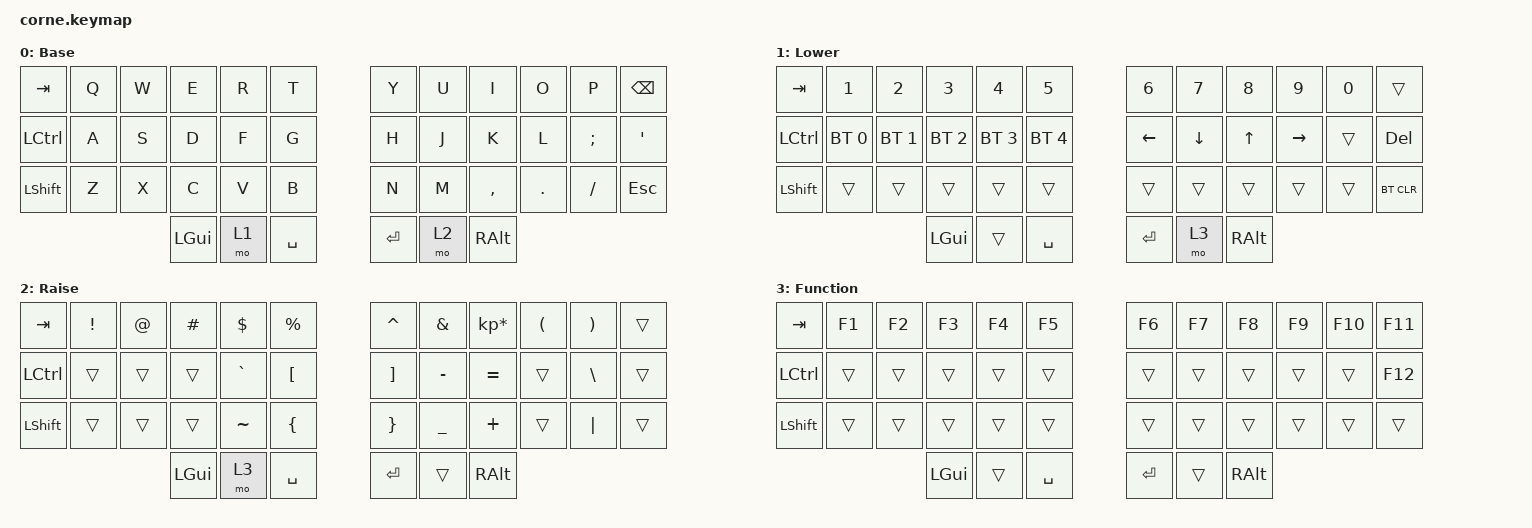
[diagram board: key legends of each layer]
/*
 * Copyright (c) 2020 The ZMK Contributors
 *
 * SPDX-License-Identifier: MIT
 */

#include <behaviors.dtsi>
#include <dt-bindings/zmk/bt.h>
#include <dt-bindings/zmk/keys.h>

/ {
    keymap {
        compatible = "zmk,keymap";

        default_layer {
            // -----------------------------------------------------------------------------------------
            // |  TAB |  Q  |  W  |  E  |  R  |  T  |   |  Y  |  U   |  I  |  O  |  P  | BKSP |
            // | CTRL |  A  |  S  |  D  |  F  |  G  |   |  H  |  J   |  K  |  L  |  ;  |  '   |
            // | SHFT |  Z  |  X  |  C  |  V  |  B  |   |  N  |  M   |  ,  |  .  |  /  | ESC  |
            //                    | GUI | LWR | SPC |   | ENT | RSE  | ALT |

            display-name = "Base";
            bindings = <
&kp TAB    &kp Q  &kp W  &kp E     &kp R  &kp T        &kp Y    &kp U  &kp I      &kp O    &kp P     &kp BACKSPACE
&kp LCTRL  &kp A  &kp S  &kp D     &kp F  &kp G        &kp H    &kp J  &kp K      &kp L    &kp SEMI  &kp SQT
&kp LSHFT  &kp Z  &kp X  &kp C     &kp V  &kp B        &kp N    &kp M  &kp COMMA  &kp DOT  &kp FSLH  &kp ESC
                         &kp LGUI  &mo 1  &kp SPACE    &kp RET  &mo 2  &kp RALT
            >;
        };

        lower_layer {
            // -----------------------------------------------------------------------------------------
            // |  TAB |  1  |  2  |  3  |  4  |  5  |   |  6  |  7  |  8  |  9  |  0  | BKSP |
            // | CTRL | BT1 | BT2 | BT3 | BT4 | BT5 |   | LFT | DWN |  UP | RGT |     |      |
            // | SHFT |     |     |     |     |     |   |     |     |     |     |     |BT_CLR|
            //                    | GUI |     | SPC |   | ENT |     | ALT |

            display-name = "Lower";
            bindings = <
&kp TAB    &kp N1        &kp N2        &kp N3        &kp N4        &kp N5          &kp N6    &kp N7    &kp N8    &kp N9     &kp N0  &trans
&kp LCTRL  &bt BT_SEL 0  &bt BT_SEL 1  &bt BT_SEL 2  &bt BT_SEL 3  &bt BT_SEL 4    &kp LEFT  &kp DOWN  &kp UP    &kp RIGHT  &trans  &kp DEL
&kp LSHFT  &trans        &trans        &trans        &trans        &trans          &trans    &trans    &trans    &trans     &trans  &bt BT_CLR
                                       &kp LGUI      &trans        &kp SPACE       &kp RET   &mo 3     &kp RALT
            >;
        };

        raise_layer {
            // -----------------------------------------------------------------------------------------
            // |  TAB |  !  |  @  |  #  |  $  |  %  |   |  ^  |  &  |  *  |  (  |  )  | BKSP |
            // | CTRL |     |     |     |     |     |   |  -  |  =  |  [  |  ]  |  \  |  `   |
            // | SHFT |     |     |     |     |     |   |  _  |  +  |  {  |  }  | "|" |  ~   |
            //                    | GUI |     | SPC |   | ENT |     | ALT |

            display-name = "Raise";
            bindings = <
&kp TAB    &kp EXCL  &kp AT  &kp HASH  &kp DLLR   &kp PRCNT           &kp CARET          &kp AMPS   &kp KP_MULTIPLY  &kp LPAR  &kp RPAR  &trans
&kp LCTRL  &trans    &trans  &trans    &kp GRAVE  &kp LEFT_BRACKET    &kp RIGHT_BRACKET  &kp MINUS  &kp EQUAL        &trans    &kp BSLH  &trans
&kp LSHFT  &trans    &trans  &trans    &kp TILDE  &kp LEFT_BRACE      &kp RIGHT_BRACE    &kp UNDER  &kp PLUS         &trans    &kp PIPE  &trans
                             &kp LGUI  &mo 3      &kp SPACE           &kp RET            &trans     &kp RALT
            >;
        };

        function_layer {
            // -----------------------------------------------------------------------------------------
            // |  TAB |  !  |  @  |  #  |  $  |  %  |   |  ^  |  &  |  *  |  (  |  )  | BKSP |
            // | CTRL |     |     |     |     |     |   |  -  |  =  |  [  |  ]  |  \  |  `   |
            // | SHFT |     |     |     |     |     |   |  _  |  +  |  {  |  }  | "|" |  ~   |
            //                    | GUI |     | SPC |   | ENT |     | ALT |

            display-name = "Function";
            bindings = <
&kp TAB    &kp F1  &kp F2  &kp F3    &kp F4  &kp F5       &kp F6   &kp F7  &kp F8    &kp F9  &kp F10  &kp F11
&kp LCTRL  &trans  &trans  &trans    &trans  &trans       &trans   &trans  &trans    &trans  &trans   &kp F12
&kp LSHFT  &trans  &trans  &trans    &trans  &trans       &trans   &trans  &trans    &trans  &trans   &trans
                           &kp LGUI  &trans  &kp SPACE    &kp RET  &trans  &kp RALT
            >;
        };

        extra_2 { status = "reserved"; };

        extra_3 { status = "reserved"; };
    };
};
